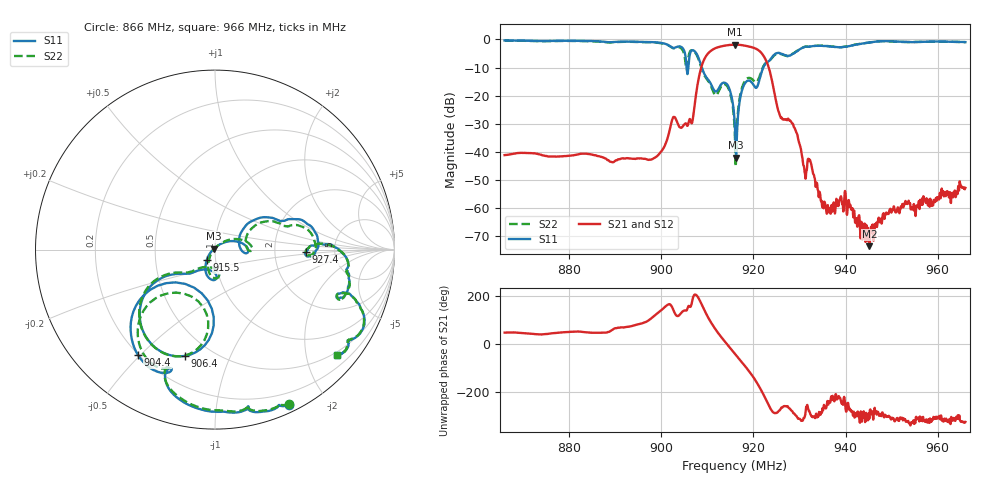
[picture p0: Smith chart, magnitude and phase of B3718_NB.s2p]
! S-parameter for B3718 in Touchstone format with magnitude (lin) and phase
! Normalised impedance: 50 Ohm. Measurement system: 50 Ohm Ta = 20°C
! B3718_SB.s2p . Measurement full 2-port calibrated incl. Port ext.
! Start: 866.00MHz, Stop: 966.00MHz, Span: 100MHz, 1601 Pts., Step: 62.5kHz
! Date:25/10/06 Epcos SAW COM WT AE PD, AB
! Pinning according data sheet recommendation, In P2, Out P5, all others GND
! port | pin | signal
!  1  |  2  |  IN
!  2  |  5  |  OUT
# MHZ S MA R 50
! freq  magS11 angS11  magS21 angS21  magS12 angS12  magS22 angS22
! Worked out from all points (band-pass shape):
!   1601 points, 866 MHz to 966 MHz, reference 50 ohm
!   highest |S21| = -1.84 dB at 916.1 MHz (marker M1); lowest = -73.6 dB at 945.2 MHz (marker M2)
!   |S21| within 3 dB of the highest: 910.2 MHz to 921.8 MHz (11.52 MHz wide, 1.26 % of centre)
!   lowest |S11| = -42.1 dB at 916.2 MHz (marker M3), VSWR 1.02, Z = 49.5 + j0.586 ohm
!   |S11| at or under -10 dB: 905.5191 MHz to 905.8562 MHz (337.1 kHz wide, 0.0372 % of centre); 908.8 MHz to 922.1 MHz (13.33 MHz wide, 1.46 % of centre)
!   |S22| runs from -45.2 to -0.4 dB; largest |S21 - S12| = 0.0013
!   S11 on the Smith chart (normalised r, x): 866 MHz: 0.07, -1.58; 904.4 MHz: 0.20, -0.49; 906.4 MHz: 0.36, -0.69; 915.5 MHz: 0.91, -0.11; 927.4 MHz: 3.05, -0.11; 966 MHz: 0.43, -2.62
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866  0.9602 -64.5  0.008724 46.9  0.008713 46.9  0.9554 -64.3
882.6875  0.9426 -73.1  0.009244 50.5  0.009232 50.3  0.937 -73.0
899.375  0.8801 -99.1  0.008825 130.4  0.008812 130.3  0.8699 -99.3
904.4375  0.7268 -126.2  0.02696 131.0  0.02691 130.9  0.6813 -127.9
906.4375  0.6151 -105.7  0.03403 157.0  0.03397 156.9  0.6394 -112.4
909.3125  0.2467 -146.8  0.4404 141.8  0.4396 141.7  0.2321 -146.7
911.4375  0.1257 -118.6  0.6805 70.0  0.6798 70.0  0.1101 -118.8
914.0625  0.165 -99.7  0.7825 3.5  0.7823 3.4  0.1547 -94.7
915.5  0.07496 -128.3  0.8054 -29.6  0.8047 -29.6  0.06544 -120.8
916  0.02668 -148.9  0.8085 -41.1  0.8078 -41.2  0.01695 -141.8
916.0625  0.02059 -155.1  0.8087 -42.6  0.8078 -42.6  0.01081 -152.1
916.25  0.007826 130.8  0.8085 -46.9  0.8076 -47.0  0.01099 71.9
917.8125  0.1459 16.1  0.7845 -83.5  0.7834 -83.5  0.1608 19.6
920.75  0.1412 18.9  0.6708 -161.0  0.6698 -161.0  0.1759 14.7
922.75  0.3791 26.5  0.4195 128.2  0.4185 128.2  0.3889 22.1
927.4375  0.507 -1.6  0.03835 101.0  0.03826 101.0  0.5057 -1.5
932.6875  0.7612 -11.0  0.005206 59.2  0.005201 59.3  0.755 -10.7
935.4375  0.7675 -19.0  0.001284 97.0  0.001285 97.1  0.7657 -19.0
940.25  0.7458 -18.8  0.0007789 88.1  0.0007905 88.3  0.7505 -18.9
945.1875  0.8825 -22.3  0.0002086 52.7  0.0002035 51.9  0.884 -22.4
949.375  0.9307 -30.7  0.0008274 61.6  0.0008274 62.2  0.929 -30.9
966  0.8973 -40.9  0.002283 36.3  0.002282 36.4  0.8961 -40.9
